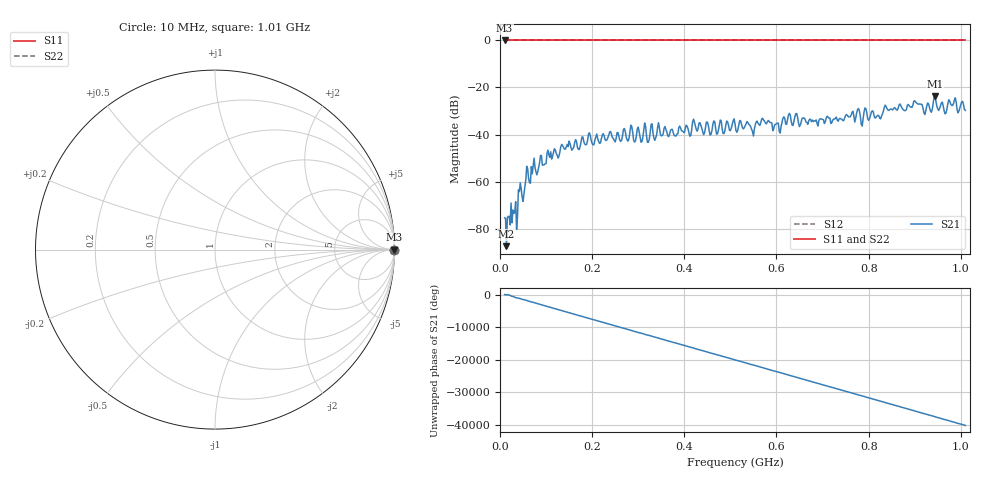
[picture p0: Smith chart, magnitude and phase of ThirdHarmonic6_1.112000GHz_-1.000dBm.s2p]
! 8/16/2025 10:35:58 AM
! C:\ANRITSUVNA\TEMP\TEMP.S2P
! CHANNEL.1
! TR.MEASUREMENT
! RAW.DATA
! RF.CORRECTION.OFF
! AVERAGING.OFF
! IF.BANDWIDTH: 5KHZ
! SWEEPTYPE:  FREQ.SWEEP(Linear)
! Reference Plane Port Info
! PORT:  PORT1  PORT2
! DISTANCE:  0  m  0  m
! TIME:  0  s  0  s
! PHASE.OFFSET:  0  deg.  0  deg.
! LOSS:  0  dB  0  dB
! REF.LOSS:  0  dB  0  dB
! REF.FREQ:  0  Hz  0  Hz
! Power Info
! POWER:  -20  dBm  -20  dBm
! EFF.POWER:  -20  dBm  -20  dBm
! SOURCE.ATTEN:  0  dB  0  dB
! TEST.ATTEN:  0  dB  0  dB
# GHZ S RI R 50.0
! FREQ.GHZ  S11RE  S11IM  S21RE  S21IM  S12RE  S12IM  S22RE  S22IM
!; PortSelection: Port_12
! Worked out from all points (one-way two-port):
!   501 points, 10 MHz to 1.01 GHz, reference 50 ohm
!   highest |S21| = -23.65 dB at 944 MHz (marker M1); lowest = -87.5 dB at 14 MHz (marker M2)
!   lowest |S11| = 0.0 dB at 10 MHz (marker M3)
!   |S11| at or under -10 dB: nowhere
!   |S22| runs from 0.0 to 0.0 dB; largest |S21 - S12| = 1.1
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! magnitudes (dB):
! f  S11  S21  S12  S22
! 10 MHz  0.0  -75.5  0.0  0.0
! 14 MHz  0.0  -87.5  0.0  0.0
! 34 MHz  0.0  -68.6  0.0  0.0
! 44 MHz  0.0  -60.5  0.0  0.0
! 50 MHz  0.0  -68.4  0.0  0.0
! 58 MHz  0.0  -53.5  0.0  0.0
! 72 MHz  0.0  -53.5  0.0  0.0
! 178 MHz  0.0  -41.0  0.0  0.0
! 284 MHz  0.0  -36.0  0.0  0.0
! 322 MHz  0.0  -43.3  0.0  0.0
! 344 MHz  0.0  -35.0  0.0  0.0
! 382 MHz  0.0  -40.6  0.0  0.0
! 420 MHz  0.0  -33.5  0.0  0.0
! 510 MHz  0.0  -35.5  0.0  0.0
! 678 MHz  0.0  -33.9  0.0  0.0
! 844 MHz  0.0  -29.8  0.0  0.0
! 902 MHz  0.0  -26.2  0.0  0.0
! 922 MHz  0.0  -31.5  0.0  0.0
! 944 MHz  0.0  -23.6  0.0  0.0
! 966 MHz  0.0  -31.2  0.0  0.0
! 986 MHz  0.0  -25.4  0.0  0.0
! 1.01 GHz  0.0  -29.7  0.0  0.0
